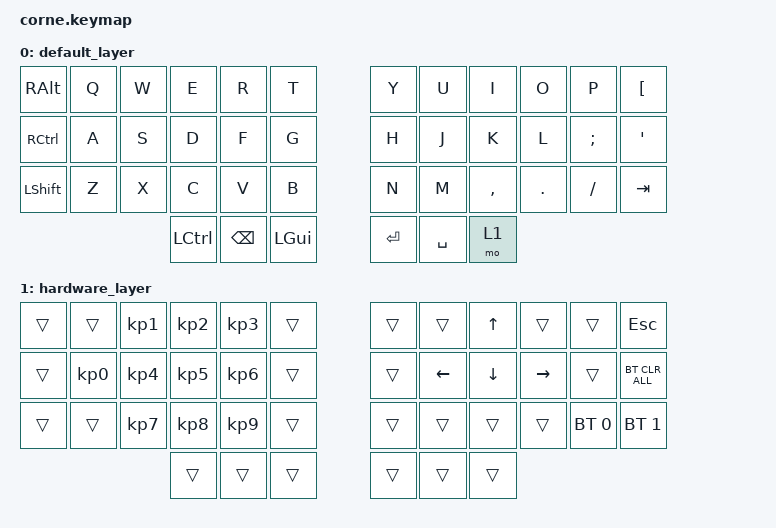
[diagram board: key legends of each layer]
/*
 * Copyright (c) 2020 The ZMK Contributors
 *
 * SPDX-License-Identifier: MIT
 */

#include <behaviors.dtsi>
#include <dt-bindings/zmk/bt.h>
#include <dt-bindings/zmk/keys.h>

&led_strip { chain-length = <27>; };

/ {
    keymap {
        compatible = "zmk,keymap";

        default_layer {
            bindings = <
&kp RALT   &kp Q  &kp W  &kp E      &kp R     &kp T       &kp Y    &kp U      &kp I      &kp O    &kp P     &kp LEFT_BRACKET
&kp RCTRL  &kp A  &kp S  &kp D      &kp F     &kp G       &kp H    &kp J      &kp K      &kp L    &kp SEMI  &kp SQT
&kp LSHFT  &kp Z  &kp X  &kp C      &kp V     &kp B       &kp N    &kp M      &kp COMMA  &kp DOT  &kp FSLH  &kp TAB
                         &kp LCTRL  &kp BSPC  &kp LGUI    &kp RET  &kp SPACE  &mo 1
            >;
        };

        hardware_layer {
            bindings = <
&trans  &trans           &kp KP_NUMBER_1  &kp KP_NUMBER_2  &kp KP_NUMBER_3  &trans    &trans  &trans          &kp UP_ARROW    &trans           &trans        &kp ESCAPE
&trans  &kp KP_NUMBER_0  &kp KP_NUMBER_4  &kp KP_NUMBER_5  &kp KP_NUMBER_6  &trans    &trans  &kp LEFT_ARROW  &kp DOWN_ARROW  &kp RIGHT_ARROW  &trans        &bt BT_CLR_ALL
&trans  &trans           &kp KP_NUMBER_7  &kp KP_NUMBER_8  &kp KP_NUMBER_9  &trans    &trans  &trans          &trans          &trans           &bt BT_SEL 0  &bt BT_SEL 1
                                          &trans           &trans           &trans    &trans  &trans          &trans
            >;
        };
    };
};
